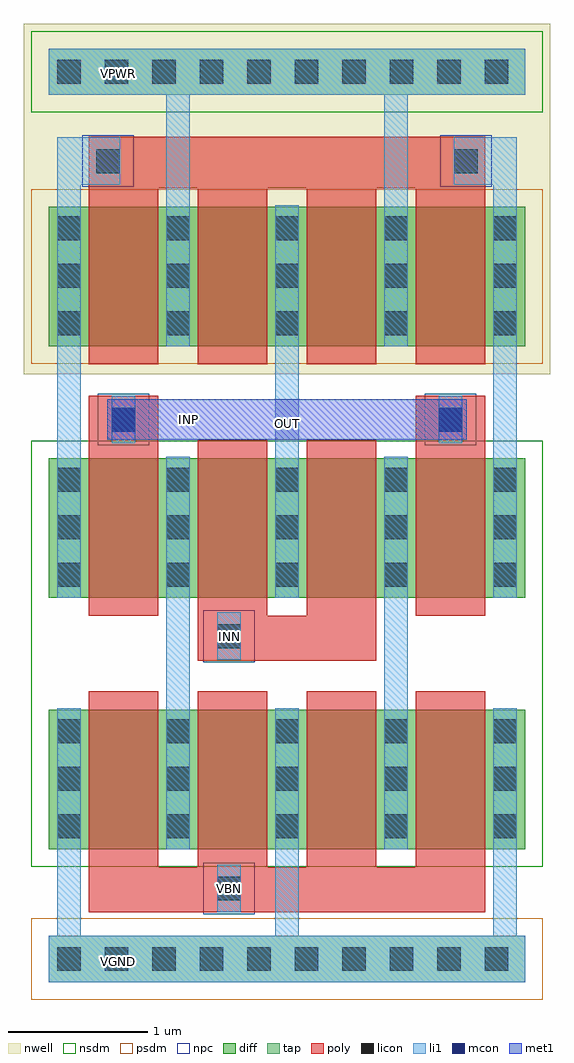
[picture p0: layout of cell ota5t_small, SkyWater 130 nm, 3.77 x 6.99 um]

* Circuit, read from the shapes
.subckt ota5t_small INN INP OUT VBN VGND VPWR
XM1 n1 VBN VGND VGND sky130_fd_pr__nfet_01v8 w=1 l=0.5 m=2
XM2 n1 INP n2 VGND sky130_fd_pr__nfet_01v8 w=1 l=0.5
XM3 OUT INN n1 VGND sky130_fd_pr__nfet_01v8 w=1 l=0.5
XM4 n3 VBN VGND VGND sky130_fd_pr__nfet_01v8 w=1 l=0.5 m=2
XM5 n3 INN OUT VGND sky130_fd_pr__nfet_01v8 w=1 l=0.5
XM6 n2 INP n3 VGND sky130_fd_pr__nfet_01v8 w=1 l=0.5
XM7 VPWR n2 n2 VPWR sky130_fd_pr__pfet_01v8 w=1 l=0.5 m=2
XM8 OUT n2 VPWR VPWR sky130_fd_pr__pfet_01v8 w=1 l=0.5 m=2
.ends

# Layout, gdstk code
import gdstk
lib = gdstk.Library(unit=1e-6, precision=1e-09)
def R(c, l, rs):  # rectangles x0, y0, x1, y1
    for r in rs: c.add(gdstk.rectangle(r[:2], r[2:], *l))
def A(c, l, x, y, w, h, nx, ny, dx, dy):  # array of equal rectangles
    R(c, l, [(x+i*dx, y+j*dy, x+i*dx+w, y+j*dy+h) for i in range(nx) for j in range(ny)])
nwell = (64, 20)
diff = (65, 20)
tap = (65, 44)
poly = (66, 20)
licon = (66, 44)
li1 = (67, 20)
mcon = (67, 44)
met1 = (68, 20)
nsdm = (93, 44)
psdm = (94, 20)
npc = (95, 20)

ota5t_small = lib.new_cell('ota5t_small')
R(ota5t_small, nwell, [(-0.18,4.35,3.59,6.86)])
A(ota5t_small, diff, 0, 0.95, 3.41, 1, 1, 3, 0, 1.8)
R(ota5t_small, tap, [(0,0,3.41,0.33), (0,6.35,3.41,6.68)])
A(ota5t_small, poly, 0.285, 0.82, 0.5, 1.26, 4, 3, 0.78, 1.8)
R(ota5t_small, poly, [(0.285,0.5,3.125,0.82), (1.065,2.3,2.345,2.62), (0.285,3.75,0.785,4.195), (2.625,3.75,3.125,4.195), (0.285,5.68,3.125,6.05)])
A(ota5t_small, licon, 0.06, 0.08, 0.17, 0.17, 10, 2, 0.34, 6.35)
A(ota5t_small, licon, 0.06, 1.03, 0.17, 0.17, 5, 3, 0.78, 0.34)
A(ota5t_small, licon, 0.06, 2.83, 0.17, 0.17, 5, 3, 0.78, 0.34)
A(ota5t_small, licon, 0.06, 4.63, 0.17, 0.17, 5, 3, 0.78, 0.34)
R(ota5t_small, licon, [(1.205,0.585,1.375,0.755), (1.205,2.39,1.375,2.56), (0.45,3.94,0.62,4.11), (2.79,3.94,2.96,4.11), (0.34,5.79,0.51,5.96), (2.9,5.79,3.07,5.96)])
A(ota5t_small, li1, 0.06, 0, 0.17, 1.96, 3, 1, 1.56, 0)
R(ota5t_small, li1, [(0,0,3.41,0.33), (1.205,0.5,1.375,0.84), (0.84,0.95,1.01,3.76), (2.4,0.95,2.57,3.76), (1.205,2.305,1.375,2.645), (0.06,2.75,0.23,6.045), (1.62,2.75,1.79,5.56), (3.18,2.75,3.35,6.045), (0.45,3.855,0.62,4.195), (2.79,3.855,2.96,4.195), (0.84,4.55,1.01,6.68), (2.4,4.55,2.57,6.68), (0.06,5.705,0.51,6.045), (0.34,5.705,0.51,6.045), (2.9,5.705,3.07,6.045), (2.9,5.705,3.35,6.045), (0,6.35,3.41,6.68)])
R(ota5t_small, mcon, [(0.45,3.94,0.62,4.11), (2.79,3.94,2.96,4.11)])
R(ota5t_small, met1, [(0.42,3.88,2.99,4.17)])
R(ota5t_small, nsdm, [(-0.125,0.825,3.535,3.875), (-0.125,6.225,3.535,6.805)])
R(ota5t_small, psdm, [(-0.125,-0.125,3.535,0.455), (-0.125,4.425,3.535,5.675)])
R(ota5t_small, npc, [(1.105,0.485,1.475,0.855), (1.105,2.29,1.475,2.66), (0.35,3.84,0.72,4.21), (2.69,3.84,3.06,4.21), (0.24,5.69,0.61,6.06), (2.8,5.69,3.17,6.06)])
ota5t_small.add(gdstk.Label('VBN', (1.29,0.67), layer=67, texttype=20))
ota5t_small.add(gdstk.Label('INN', (1.29,2.47), layer=67, texttype=20))
ota5t_small.add(gdstk.Label('OUT', (1.705,4), layer=67, texttype=20))
ota5t_small.add(gdstk.Label('VPWR', (0.5,6.5), layer=67, texttype=20))
ota5t_small.add(gdstk.Label('VGND', (0.5,0.15), layer=67, texttype=20))
ota5t_small.add(gdstk.Label('INP', (1,4.025), layer=68, texttype=5))

lib.write_gds('ota5t_small.gds')
